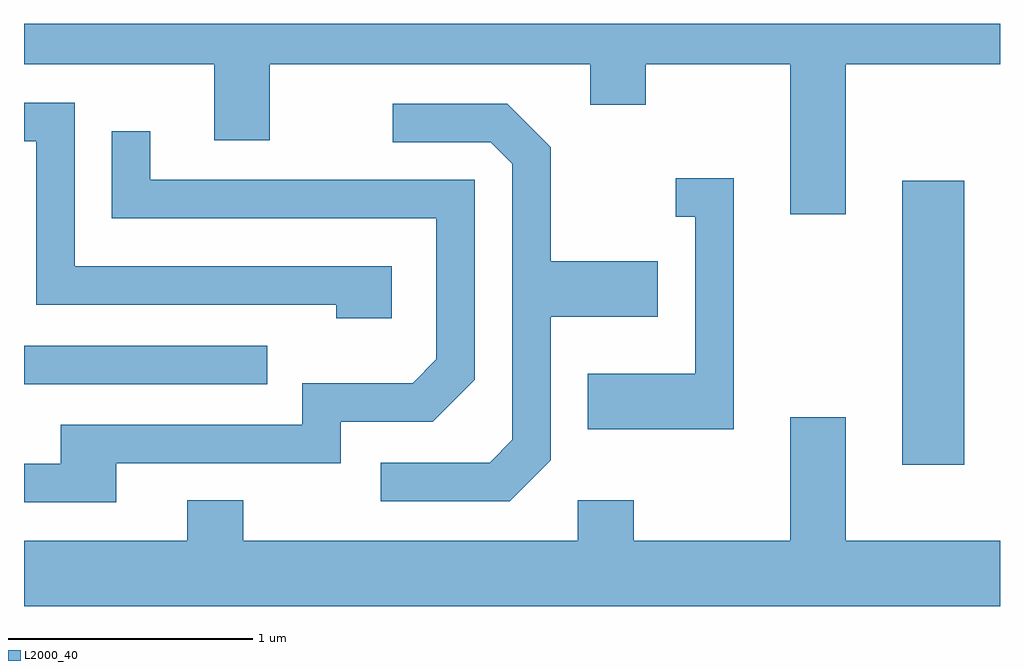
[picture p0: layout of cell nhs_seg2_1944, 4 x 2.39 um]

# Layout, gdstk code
import gdstk
lib = gdstk.Library(unit=1e-6, precision=1e-09)
def R(c, l, rs):  # rectangles x0, y0, x1, y1
    for r in rs: c.add(gdstk.rectangle(r[:2], r[2:], *l))
def P(c, l, *ps):  # polygons
    for p in ps: c.add(gdstk.Polygon(p, *l))
L2000_40 = (2000, 40)

nhs_seg2_1944 = lib.new_cell('nhs_seg2_1944')
R(nhs_seg2_1944, L2000_40, [(245.211,1059.996,245.464,1061.159), (241.611,1060.326,242.608,1060.484)])
P(nhs_seg2_1944, L2000_40, [(241.611,1061.636),(242.391,1061.636),(242.391,1061.326),(242.619,1061.326),(242.619,1061.636),(243.931,1061.636),(243.931,1061.471),(244.159,1061.471),(244.159,1061.636),(244.751,1061.636),(244.751,1061.021),(244.979,1061.021),(244.979,1061.636),(245.611,1061.636),(245.611,1061.802),(241.611,1061.802)],
  [(243.119,1060.809),(241.819,1060.809),(241.819,1061.479),(241.611,1061.479),(241.611,1061.321),(241.661,1061.321),(241.661,1060.651),(242.891,1060.651),(242.891,1060.596),(243.119,1060.596)],
  [(243.769,1060.014),(243.769,1060.601),(244.209,1060.601),(244.209,1060.829),(243.769,1060.829),(243.769,1061.297),(243.592,1061.474),(243.123,1061.474),(243.123,1061.316),(243.524,1061.316),(243.611,1061.229),(243.611,1060.097),(243.519,1060.004),(243.073,1060.004),(243.073,1059.846),(243.602,1059.846)],
  [(241.989,1060.001),(242.909,1060.001),(242.909,1060.171),(243.287,1060.171),(243.459,1060.344),(243.459,1061.164),(242.129,1061.164),(242.129,1061.363),(241.971,1061.363),(241.971,1061.006),(243.301,1061.006),(243.301,1060.427),(243.204,1060.329),(242.751,1060.329),(242.751,1060.159),(241.761,1060.159),(241.761,1059.999),(241.611,1059.999),(241.611,1059.841),(241.989,1059.841)],
  [(244.519,1061.169),(244.283,1061.169),(244.283,1061.011),(244.361,1061.011),(244.361,1060.369),(243.921,1060.369),(243.921,1060.141),(244.519,1060.141)],
  [(245.611,1059.684),(244.979,1059.684),(244.979,1060.189),(244.751,1060.189),(244.751,1059.684),(244.109,1059.684),(244.109,1059.849),(243.881,1059.849),(243.881,1059.684),(242.509,1059.684),(242.509,1059.849),(242.281,1059.849),(242.281,1059.684),(241.611,1059.684),(241.611,1059.416),(245.611,1059.416)])

lib.write_gds('nhs_seg2_1944.gds')
